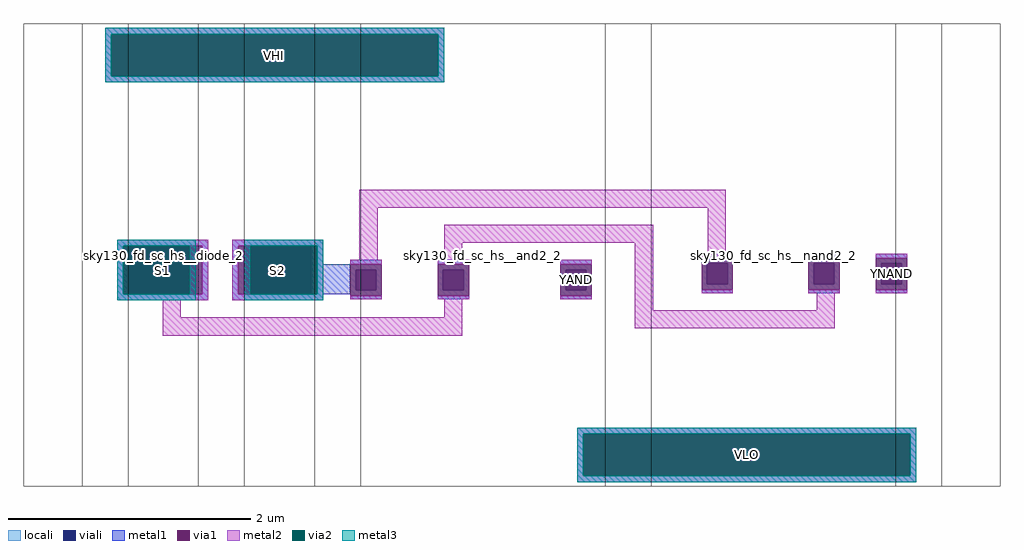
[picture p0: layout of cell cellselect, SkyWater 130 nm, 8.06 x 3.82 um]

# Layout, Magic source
magic
tech sky130A
magscale 1 2
<< locali >>
rect 250 300 400 310
rect 250 220 270 300
rect 380 220 400 300
rect 250 210 400 220
rect 440 300 590 310
rect 440 220 460 300
rect 570 220 590 300
rect 440 210 590 220
rect 635 261 687 277
rect 635 227 644 261
rect 678 227 687 261
rect 635 212 687 227
rect 779 261 831 277
rect 779 227 788 261
rect 822 227 831 261
rect 779 212 831 227
rect 982 261 1034 277
rect 982 227 991 261
rect 1025 227 1034 261
rect 982 212 1034 227
rect 1215 271 1267 287
rect 1215 237 1224 271
rect 1258 237 1267 271
rect 1215 222 1267 237
rect 1391 271 1443 287
rect 1391 237 1400 271
rect 1434 237 1443 271
rect 1391 222 1443 237
rect 1503 271 1555 287
rect 1503 237 1512 271
rect 1546 237 1555 271
rect 1503 222 1555 237
<< viali >>
rect 270 220 380 300
rect 460 220 570 300
rect 644 227 678 261
rect 788 227 822 261
rect 991 227 1025 261
rect 1224 237 1258 271
rect 1400 237 1434 271
rect 1512 237 1546 271
<< metal1 >>
rect 230 650 790 660
rect 230 580 240 650
rect 780 580 790 650
rect 230 570 790 580
rect 250 300 400 310
rect 250 220 260 300
rect 390 220 400 300
rect 250 210 400 220
rect 440 300 590 310
rect 440 220 450 300
rect 580 270 590 300
rect 1215 280 1267 287
rect 635 270 687 277
rect 580 220 635 270
rect 440 210 590 220
rect 635 212 687 218
rect 779 270 831 277
rect 779 212 831 218
rect 982 270 1034 277
rect 1215 222 1267 228
rect 1391 280 1443 287
rect 1391 222 1443 228
rect 1503 280 1555 287
rect 1503 222 1555 228
rect 982 212 1034 218
rect 1010 -10 1570 0
rect 1010 -80 1020 -10
rect 1560 -80 1570 -10
rect 1010 -90 1570 -80
<< via1 >>
rect 240 580 780 650
rect 260 220 270 300
rect 270 220 380 300
rect 380 220 390 300
rect 450 220 460 300
rect 460 220 570 300
rect 570 220 580 300
rect 635 261 687 270
rect 635 227 644 261
rect 644 227 678 261
rect 678 227 687 261
rect 635 218 687 227
rect 779 261 831 270
rect 779 227 788 261
rect 788 227 822 261
rect 822 227 831 261
rect 779 218 831 227
rect 982 261 1034 270
rect 982 227 991 261
rect 991 227 1025 261
rect 1025 227 1034 261
rect 982 218 1034 227
rect 1215 271 1267 280
rect 1215 237 1224 271
rect 1224 237 1258 271
rect 1258 237 1267 271
rect 1215 228 1267 237
rect 1391 271 1443 280
rect 1391 237 1400 271
rect 1400 237 1434 271
rect 1434 237 1443 271
rect 1391 228 1443 237
rect 1503 271 1555 280
rect 1503 237 1512 271
rect 1512 237 1546 271
rect 1546 237 1555 271
rect 1503 228 1555 237
rect 1020 -80 1560 -10
<< metal2 >>
rect 230 650 790 660
rect 230 580 240 650
rect 780 580 790 650
rect 230 570 790 580
rect 650 363 1255 393
rect 250 300 400 310
rect 250 220 260 300
rect 390 220 400 300
rect 250 210 400 220
rect 440 300 590 310
rect 440 220 450 300
rect 580 220 590 300
rect 650 277 680 363
rect 790 305 1135 335
rect 790 277 820 305
rect 440 210 590 220
rect 635 270 687 277
rect 635 212 687 218
rect 779 270 831 277
rect 779 212 831 218
rect 982 270 1034 277
rect 982 212 1034 218
rect 325 182 355 210
rect 790 182 820 212
rect 325 152 820 182
rect 1105 194 1135 305
rect 1225 287 1255 363
rect 1215 280 1267 287
rect 1215 222 1267 228
rect 1391 280 1443 287
rect 1391 222 1443 228
rect 1503 280 1555 287
rect 1503 222 1555 228
rect 1405 194 1435 222
rect 1105 164 1435 194
rect 1010 -10 1570 0
rect 1010 -80 1020 -10
rect 1560 -80 1570 -10
rect 1010 -90 1570 -80
<< via2 >>
rect 240 580 780 650
rect 260 220 370 300
rect 470 220 580 300
rect 1020 -80 1560 -10
<< metal3 >>
rect 230 650 790 660
rect 230 580 240 650
rect 780 580 790 650
rect 230 570 790 580
rect 250 300 380 310
rect 250 220 260 300
rect 370 220 380 300
rect 250 210 380 220
rect 460 300 590 310
rect 460 220 470 300
rect 580 220 590 300
rect 460 210 590 220
rect 1010 -10 1570 0
rect 1010 -80 1020 -10
rect 1560 -80 1570 -10
rect 1010 -90 1570 -80
use sky130_fd_sc_hs__and2_2  sky130_fd_sc_hs__and2_2_0 ~/openmpw/pdk_1/sky130A/libs.ref/sky130_fd_sc_hs/mag
transform 1 0 614 0 1 -48
box -38 -49 518 715
use sky130_fd_sc_hs__diode_2  sky130_fd_sc_hs__diode_2_0 ~/openmpw/pdk_1/sky130A/libs.ref/sky130_fd_sc_hs/mag
transform 1 0 230 0 1 -48
box -38 -49 230 715
use sky130_fd_sc_hs__diode_2  sky130_fd_sc_hs__diode_2_1
transform 1 0 422 0 1 -48
box -38 -49 230 715
use sky130_fd_sc_hs__nand2_2  sky130_fd_sc_hs__nand2_2_0 ~/openmpw/pdk_1/sky130A/libs.ref/sky130_fd_sc_hs/mag
transform 1 0 1094 0 1 -48
box -38 -49 518 715
use sky130_fd_sc_hs__tapvpwrvgnd_1  sky130_fd_sc_hs__tapvpwrvgnd_1_0 ~/openmpw/pdk_1/sky130A/libs.ref/sky130_fd_sc_hs/mag
transform 1 0 1574 0 1 -48
box -38 -49 134 715
use sky130_fd_sc_hs__tapvpwrvgnd_1  sky130_fd_sc_hs__tapvpwrvgnd_1_1
transform 1 0 134 0 1 -48
box -38 -49 134 715
<< labels >>
rlabel locali 250 210 400 310 1 S1
rlabel locali 440 210 590 310 1 S2
rlabel metal2 982 212 1034 277 1 YAND
rlabel metal2 1503 222 1555 287 1 YNAND
rlabel metal3 230 570 790 660 1 VHI
rlabel metal3 1010 -90 1570 0 1 VLO
<< end >>
